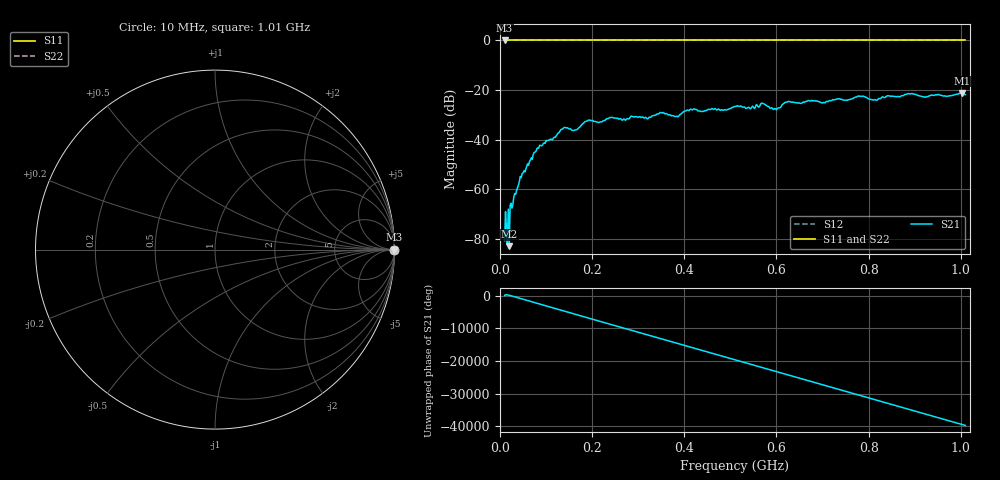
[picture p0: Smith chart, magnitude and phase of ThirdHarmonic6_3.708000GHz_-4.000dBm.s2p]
! 8/17/2025 12:37:03 PM
! C:\ANRITSUVNA\TEMP\TEMP.S2P
! CHANNEL.1
! TR.MEASUREMENT
! RAW.DATA
! RF.CORRECTION.OFF
! AVERAGING.OFF
! IF.BANDWIDTH: 5KHZ
! SWEEPTYPE:  FREQ.SWEEP(Linear)
! Reference Plane Port Info
! PORT:  PORT1  PORT2
! DISTANCE:  0  m  0  m
! TIME:  0  s  0  s
! PHASE.OFFSET:  0  deg.  0  deg.
! LOSS:  0  dB  0  dB
! REF.LOSS:  0  dB  0  dB
! REF.FREQ:  0  Hz  0  Hz
! Power Info
! POWER:  -20  dBm  -20  dBm
! EFF.POWER:  -20  dBm  -20  dBm
! SOURCE.ATTEN:  0  dB  0  dB
! TEST.ATTEN:  0  dB  0  dB
# GHZ S RI R 50.0
! FREQ.GHZ  S11RE  S11IM  S21RE  S21IM  S12RE  S12IM  S22RE  S22IM
!; PortSelection: Port_12
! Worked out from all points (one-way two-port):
!   501 points, 10 MHz to 1.01 GHz, reference 50 ohm
!   highest |S21| = -21.15 dB at 1.002 GHz (marker M1); lowest = -82.8 dB at 20 MHz (marker M2)
!   lowest |S11| = 0.0 dB at 10 MHz (marker M3)
!   |S11| at or under -10 dB: nowhere
!   |S22| runs from 0.0 to 0.0 dB; largest |S21 - S12| = 1.1
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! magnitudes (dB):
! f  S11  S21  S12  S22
! 10 MHz  0.0  -80.6  0.0  0.0
! 20 MHz  0.0  -82.8  0.0  0.0
! 24 MHz  0.0  -65.6  0.0  0.0
! 26 MHz  0.0  -67.5  0.0  0.0
! 46 MHz  0.0  -55.2  0.0  0.0
! 78 MHz  0.0  -44.7  0.0  0.0
! 136 MHz  0.0  -35.7  0.0  0.0
! 162 MHz  0.0  -36.1  0.0  0.0
! 178 MHz  0.0  -33.8  0.0  0.0
! 192 MHz  0.0  -32.1  0.0  0.0
! 322 MHz  0.0  -31.3  0.0  0.0
! 344 MHz  0.0  -29.6  0.0  0.0
! 384 MHz  0.0  -30.5  0.0  0.0
! 416 MHz  0.0  -27.9  0.0  0.0
! 510 MHz  0.0  -26.6  0.0  0.0
! 570 MHz  0.0  -25.3  0.0  0.0
! 598 MHz  0.0  -27.6  0.0  0.0
! 624 MHz  0.0  -24.8  0.0  0.0
! 678 MHz  0.0  -24.3  0.0  0.0
! 844 MHz  0.0  -22.3  0.0  0.0
! 1.002 GHz  0.0  -21.2  0.0  0.0
! 1.01 GHz  0.0  -21.8  0.0  0.0
